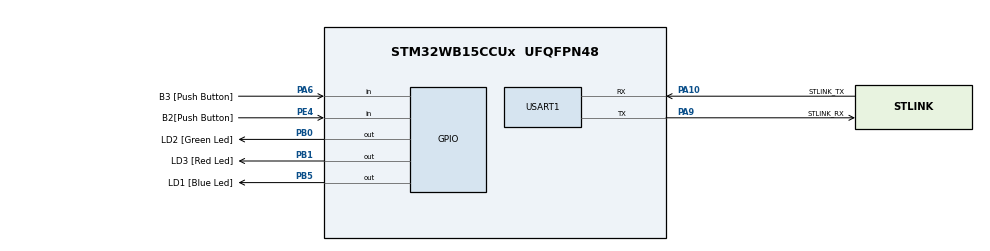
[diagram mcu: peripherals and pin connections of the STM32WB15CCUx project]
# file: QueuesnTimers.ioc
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Mcu.Family=STM32WB
Mcu.Name=STM32WB15CCUx
Mcu.Package=UFQFPN48
NVIC.PriorityGroup=NVIC_PRIORITYGROUP_4
NVIC.TIM1_UP_IRQn=true\:15\:0\:false\:false\:true\:false\:true\:true
NVIC.TimeBase=TIM1_UP_IRQn
NVIC.TimeBaseIP=TIM1
NVIC.USART1_IRQn=true\:6\:0\:true\:false\:true\:true\:true\:true
OSC_IN.Mode=HSE-External-Oscillator
OSC_IN.Signal=RCC_OSC_IN
OSC_OUT.Mode=HSE-External-Oscillator
OSC_OUT.Signal=RCC_OSC_OUT
PA10.GPIO_Label=STLINK_TX
PA10.Mode=Asynchronous
PA10.Signal=USART1_RX
PA13.GPIO_Label=JTMS
PA13.Signal=SYS_JTMS-SWDIO
PA14.GPIO_Label=JTCK
PA14.Signal=SYS_JTCK-SWCLK
PA6.GPIO_Label=B3 [Push Button]
PA6.Signal=GPIO_Input
PA9.GPIO_Label=STLINK_RX
PA9.Mode=Asynchronous
PA9.Signal=USART1_TX
PB0.GPIO_Label=LD2 [Green Led]
PB0.GPIO_PuPd=GPIO_PULLUP
PB0.Signal=GPIO_Output
PB1.GPIO_Label=LD3 [Red Led]
PB1.GPIO_PuPd=GPIO_PULLUP
PB1.Signal=GPIO_Output
PB3.GPIO_Label=JTDO
PB3.Signal=SYS_JTDO-SWO
PB5.GPIO_Label=LD1 [Blue Led]
PB5.GPIO_PuPd=GPIO_PULLUP
PB5.Signal=GPIO_Output
PC14-OSC32_IN.Mode=LSE-External-Oscillator
PC14-OSC32_IN.Signal=RCC_OSC32_IN
PC15-OSC32_OUT.Mode=LSE-External-Oscillator
PC15-OSC32_OUT.Signal=RCC_OSC32_OUT
PE4.GPIO_Label=B2[Push Button]
PE4.Signal=GPIO_Input
ProjectManager.HeapSize=0x200
ProjectManager.StackSize=0x400
ProjectManager.TargetToolchain=STM32CubeIDE
RCC.APB3Freq_Value=16000000
RCC.HSE_VALUE=32000000
RCC.HSI_VALUE=16000000
RCC.LSE_Drive_Capability=RCC_LSEDRIVE_LOW
RCC.VCOOutputFreq_Value=32000000
RTC.HourFormat=RTC_HOURFORMAT_24
USART1.VirtualMode-Asynchronous=VM_ASYNC
VP_RTC_VS_RTC_Activate.Mode=RTC_Enabled
VP_SYS_VS_tim1.Mode=TIM1
board=NUCLEO-WB15CC

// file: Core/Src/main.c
/* USER CODE BEGIN Header */
/**
  ******************************************************************************
  * @file           : main.c
  * @brief          : Main program body
  ******************************************************************************
  * @attention
  *
  * Copyright (c) 2023 STMicroelectronics.
  * All rights reserved.
  *
  * This software is licensed under terms that can be found in the LICENSE file
  * in the root directory of this software component.
  * If no LICENSE file comes with this software, it is provided AS-IS.
  *
  ******************************************************************************
  */
/* USER CODE END Header */
#include "main.h"

RTC_HandleTypeDef hrtc;

UART_HandleTypeDef huart1;

/* USER CODE BEGIN PV */
TaskHandle_t hMenu,hLed,hRTC,hPrint,hCommand;
QueueHandle_t hInputDataQueue, hPrintQueue;
TimerHandle_t hLedTimer[3];
TimerHandle_t RtcTimer;

uint8_t user_data;

/* USER CODE END PV */

void SystemClock_Config(void);
void PeriphCommonClock_Config(void);
static void MX_GPIO_Init(void);
static void MX_RTC_Init(void);
static void MX_USART1_UART_Init(void);

int main(void)
{

  /* MCU Configuration--------------------------------------------------------*/

  /* Reset of all peripherals, Initializes the Flash interface and the Systick. */
  HAL_Init();

  /* Configure the system clock */
  SystemClock_Config();

/* Configure the peripherals common clocks */
  PeriphCommonClock_Config();

  /* Initialize all configured peripherals */
  MX_GPIO_Init();
  MX_RTC_Init();
  MX_USART1_UART_Init();
  /* USER CODE BEGIN 2 */

  // Enable the CYCCNT counter for Arm Cortex M3/M4 processor register

  DWT_CTRL |= (1 << 0);

  BaseType_t status;

  status = xTaskCreate(menuTask, "Menu-Task", 250, NULL, 2, &hMenu);
  configASSERT(status == pdPASS);

  status = xTaskCreate(ledTask, "Led-Task", 250, NULL, 2, &hLed);
  configASSERT(status == pdPASS);

  status = xTaskCreate(RTCTask, "RTC-Task", 250, NULL, 2, &hRTC);
  configASSERT(status == pdPASS);

  status = xTaskCreate(printTask, "Print-Task", 250, NULL, 2, &hPrint);
  configASSERT(status == pdPASS);

  status = xTaskCreate(commandTask, "Command-Task", 250, NULL, 2, &hCommand);
  configASSERT(status == pdPASS);

  hInputDataQueue = xQueueCreate(10, sizeof(char));
  configASSERT(hInputDataQueue != NULL);

  /* We pass a string (a reference to char) to the queue API
   * Since a pointer is unsigned long int we used sizeof(unsigned long int) */
  hPrintQueue = xQueueCreate(10, sizeof(size_t));
  configASSERT(hPrintQueue != NULL);

  // Create timers for LED effects
  for(uint8_t i = 0; i < 3; i++)
	  hLedTimer[i] = xTimerCreate("Led Timer",pdMS_TO_TICKS(500),pdTRUE,(void*)(i+1),LedEffectCbx);

  // Create timer for RTC report
  RtcTimer = xTimerCreate("RTC Timer", pdMS_TO_TICKS(1000), pdTRUE, NULL, RtcTimerCbx);

  HAL_UART_Receive_IT(&huart1, &user_data, sizeof(uint8_t));

  vTaskStartScheduler();

  /* USER CODE END 2 */

  /* Infinite loop */
  while (1)
  {

  }
}

void SystemClock_Config(void)
{
  RCC_OscInitTypeDef RCC_OscInitStruct = {0};
  RCC_ClkInitTypeDef RCC_ClkInitStruct = {0};

  /** Configure LSE Drive Capability
  */
  HAL_PWR_EnableBkUpAccess();
  __HAL_RCC_LSEDRIVE_CONFIG(RCC_LSEDRIVE_LOW);

  /** Initializes the RCC Oscillators according to the specified parameters
  * in the RCC_OscInitTypeDef structure.
  */
  RCC_OscInitStruct.OscillatorType = RCC_OSCILLATORTYPE_HSI|RCC_OSCILLATORTYPE_LSI1
                              |RCC_OSCILLATORTYPE_HSE|RCC_OSCILLATORTYPE_LSE
                              |RCC_OSCILLATORTYPE_MSI;
  RCC_OscInitStruct.HSEState = RCC_HSE_ON;
  RCC_OscInitStruct.LSEState = RCC_LSE_ON;
  RCC_OscInitStruct.HSIState = RCC_HSI_ON;
  RCC_OscInitStruct.MSIState = RCC_MSI_ON;
  RCC_OscInitStruct.HSICalibrationValue = RCC_HSICALIBRATION_DEFAULT;
  RCC_OscInitStruct.MSICalibrationValue = RCC_MSICALIBRATION_DEFAULT;
  RCC_OscInitStruct.MSIClockRange = RCC_MSIRANGE_6;
  RCC_OscInitStruct.LSIState = RCC_LSI_ON;
  RCC_OscInitStruct.PLL.PLLState = RCC_PLL_NONE;
  if (HAL_RCC_OscConfig(&RCC_OscInitStruct) != HAL_OK)
  {
    Error_Handler();
  }

  /** Configure the SYSCLKSource, HCLK, PCLK1 and PCLK2 clocks dividers
  */
  RCC_ClkInitStruct.ClockType = RCC_CLOCKTYPE_HCLK4|RCC_CLOCKTYPE_HCLK2
                              |RCC_CLOCKTYPE_HCLK|RCC_CLOCKTYPE_SYSCLK
                              |RCC_CLOCKTYPE_PCLK1|RCC_CLOCKTYPE_PCLK2;
  RCC_ClkInitStruct.SYSCLKSource = RCC_SYSCLKSOURCE_MSI;
  RCC_ClkInitStruct.AHBCLKDivider = RCC_SYSCLK_DIV1;
  RCC_ClkInitStruct.APB1CLKDivider = RCC_HCLK_DIV1;
  RCC_ClkInitStruct.APB2CLKDivider = RCC_HCLK_DIV1;
  RCC_ClkInitStruct.AHBCLK2Divider = RCC_SYSCLK_DIV1;
  RCC_ClkInitStruct.AHBCLK4Divider = RCC_SYSCLK_DIV1;

  if (HAL_RCC_ClockConfig(&RCC_ClkInitStruct, FLASH_LATENCY_0) != HAL_OK)
  {
    Error_Handler();
  }

  /** Enable MSI Auto calibration
  */
  HAL_RCCEx_EnableMSIPLLMode();
}

void PeriphCommonClock_Config(void)
{
  RCC_PeriphCLKInitTypeDef PeriphClkInitStruct = {0};

  /** Initializes the peripherals clock
  */
  PeriphClkInitStruct.PeriphClockSelection = RCC_PERIPHCLK_SMPS;
  PeriphClkInitStruct.SmpsClockSelection = RCC_SMPSCLKSOURCE_HSI;
  PeriphClkInitStruct.SmpsDivSelection = RCC_SMPSCLKDIV_RANGE1;

  if (HAL_RCCEx_PeriphCLKConfig(&PeriphClkInitStruct) != HAL_OK)
  {
    Error_Handler();
  }
}

static void MX_RTC_Init(void)
{

  /** Initialize RTC Only
  */
  hrtc.Instance = RTC;
  hrtc.Init.HourFormat = RTC_HOURFORMAT_24;
  hrtc.Init.AsynchPrediv = 127;
  hrtc.Init.SynchPrediv = 255;
  hrtc.Init.OutPut = RTC_OUTPUT_DISABLE;
  hrtc.Init.OutPutPolarity = RTC_OUTPUT_POLARITY_HIGH;
  hrtc.Init.OutPutRemap = RTC_OUTPUT_REMAP_NONE;
  if (HAL_RTC_Init(&hrtc) != HAL_OK)
  {
    Error_Handler();
  }

}

static void MX_USART1_UART_Init(void)
{

  huart1.Instance = USART1;
  huart1.Init.BaudRate = 115200;
  huart1.Init.WordLength = UART_WORDLENGTH_8B;
  huart1.Init.StopBits = UART_STOPBITS_1;
  huart1.Init.Parity = UART_PARITY_NONE;
  huart1.Init.Mode = UART_MODE_TX_RX;
  huart1.Init.HwFlowCtl = UART_HWCONTROL_NONE;
  huart1.Init.OverSampling = UART_OVERSAMPLING_16;
  huart1.Init.OneBitSampling = UART_ONE_BIT_SAMPLE_DISABLE;
  huart1.Init.ClockPrescaler = UART_PRESCALER_DIV1;
  huart1.AdvancedInit.AdvFeatureInit = UART_ADVFEATURE_NO_INIT;
  if (HAL_UART_Init(&huart1) != HAL_OK)
  {
    Error_Handler();
  }
  if (HAL_UARTEx_SetTxFifoThreshold(&huart1, UART_TXFIFO_THRESHOLD_1_8) != HAL_OK)
  {
    Error_Handler();
  }
  if (HAL_UARTEx_SetRxFifoThreshold(&huart1, UART_RXFIFO_THRESHOLD_1_8) != HAL_OK)
  {
    Error_Handler();
  }
  if (HAL_UARTEx_DisableFifoMode(&huart1) != HAL_OK)
  {
    Error_Handler();
  }

}

static void MX_GPIO_Init(void)
{
  GPIO_InitTypeDef GPIO_InitStruct = {0};

  /* GPIO Ports Clock Enable */
  __HAL_RCC_GPIOC_CLK_ENABLE();
  __HAL_RCC_GPIOA_CLK_ENABLE();
  __HAL_RCC_GPIOB_CLK_ENABLE();
  __HAL_RCC_GPIOE_CLK_ENABLE();

  /*Configure GPIO pin Output Level */
  HAL_GPIO_WritePin(GPIOB, LD2_Pin|LD3_Pin|LD1_Pin, GPIO_PIN_RESET);

  /*Configure GPIO pin : B3_Pin */
  GPIO_InitStruct.Pin = B3_Pin;
  GPIO_InitStruct.Mode = GPIO_MODE_INPUT;
  GPIO_InitStruct.Pull = GPIO_NOPULL;
  HAL_GPIO_Init(B3_GPIO_Port, &GPIO_InitStruct);

  /*Configure GPIO pins : LD2_Pin LD3_Pin LD1_Pin */
  GPIO_InitStruct.Pin = LD2_Pin|LD3_Pin|LD1_Pin;
  GPIO_InitStruct.Mode = GPIO_MODE_OUTPUT_PP;
  GPIO_InitStruct.Pull = GPIO_PULLUP;
  GPIO_InitStruct.Speed = GPIO_SPEED_FREQ_LOW;
  HAL_GPIO_Init(GPIOB, &GPIO_InitStruct);

  /*Configure GPIO pin : B2_Pin */
  GPIO_InitStruct.Pin = B2_Pin;
  GPIO_InitStruct.Mode = GPIO_MODE_INPUT;
  GPIO_InitStruct.Pull = GPIO_NOPULL;
  HAL_GPIO_Init(B2_GPIO_Port, &GPIO_InitStruct);

}

/* USER CODE BEGIN 4 */

void HAL_UART_RxCpltCallback(UART_HandleTypeDef *huart)
{
	uint8_t dummy;

	BaseType_t isQueueFull;
	// return pdFALSE if the queue is not full, or pdTRUE if the queue is full.
	isQueueFull = xQueueIsQueueFullFromISR(hInputDataQueue);
	if(isQueueFull == pdFALSE)
	{
		/* Queue is not full */

		/* Enqueue data byte */
		xQueueSendFromISR(hInputDataQueue,(void*)&user_data,NULL);

	}else{
		/*Queue is full */

		if(user_data == '\n')
		{
			/*user_data = '\n' */

			/* make sure that last data byte of the queue is '\n' */
			// Copy the last received item to the queue into dummy and delete it
			xQueueReceiveFromISR(hInputDataQueue, (void*)&dummy, NULL);

			// Keep '\n' on the back of the queue
			xQueueSendFromISR(hInputDataQueue,(void*)&user_data,NULL);

		}
	}

	/* send notification to command handling task if user_data = '\n' */
			if(user_data == '\n')
			{
				xTaskNotifyFromISR(hCommand,0,eNoAction,NULL);
			}

	/* Enable UART data byte reception again in IT mode */
	  HAL_UART_Receive_IT(&huart1, &user_data, sizeof(uint8_t));

}

/* USER CODE END 4 */

void HAL_TIM_PeriodElapsedCallback(TIM_HandleTypeDef *htim)
{
  if (htim->Instance == TIM1) {
    HAL_IncTick();
  }
}

void Error_Handler(void)
{
  __disable_irq();
  while (1)
  {
  }
}
